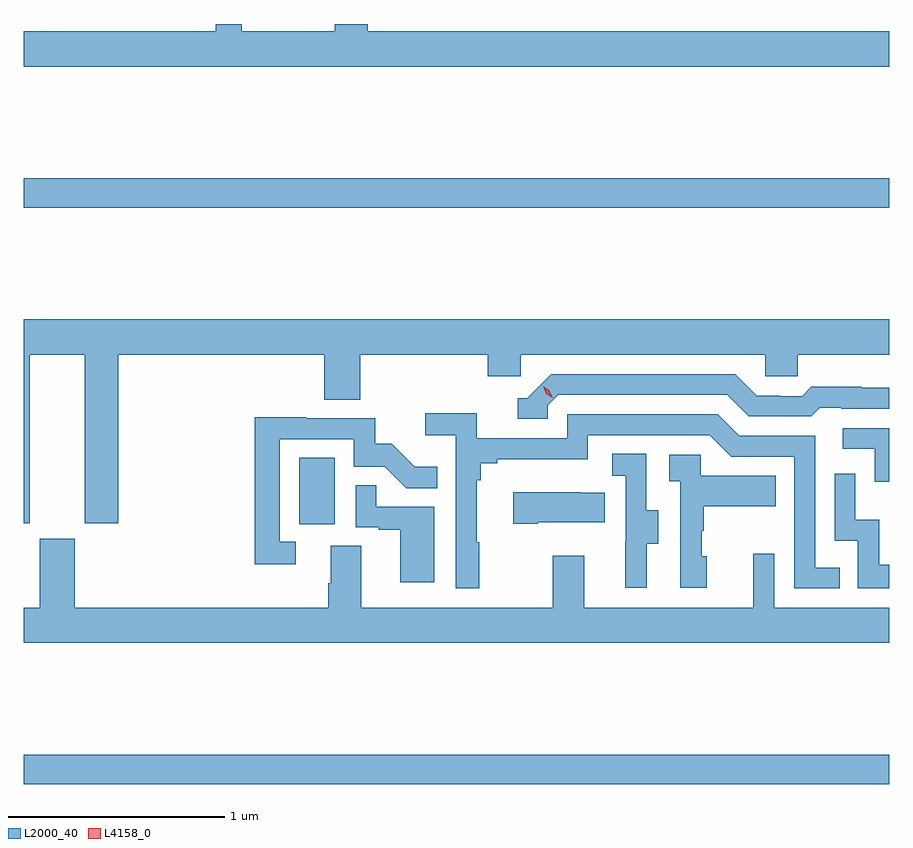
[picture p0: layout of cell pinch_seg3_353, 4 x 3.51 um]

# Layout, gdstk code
import gdstk
lib = gdstk.Library(unit=1e-6, precision=1e-09)
def R(c, l, rs):  # rectangles x0, y0, x1, y1
    for r in rs: c.add(gdstk.rectangle(r[:2], r[2:], *l))
def P(c, l, *ps):  # polygons
    for p in ps: c.add(gdstk.Polygon(p, *l))
L2000_40 = (2000, 40)
L4158_0 = (4158, 0)

pinch_seg3_353 = lib.new_cell('pinch_seg3_353')
R(pinch_seg3_353, L2000_40, [(970.796,696.268,974.796,696.404), (972.068,697.47,972.232,697.777), (970.796,698.932,974.796,699.068)])
P(pinch_seg3_353, L2000_40, [(974.796,699.748),(972.386,699.748),(972.386,699.782),(972.233,699.782),(972.233,699.748),(971.803,699.748),(971.803,699.782),(971.682,699.782),(971.682,699.748),(970.796,699.748),(970.796,699.584),(974.796,699.584)],
  [(970.822,698.252),(971.078,698.252),(971.078,697.473),(971.231,697.473),(971.231,698.252),(972.185,698.252),(972.185,698.044),(972.35,698.044),(972.35,698.252),(972.941,698.252),(972.941,698.154),(973.092,698.154),(973.092,698.252),(974.223,698.252),(974.223,698.154),(974.373,698.154),(974.373,698.252),(974.796,698.252),(974.796,698.416),(970.796,698.416),(970.796,697.473),(970.822,697.473)],
  [(973.218,698.019),(973.266,698.067),(974.049,698.067),(974.148,697.968),(974.437,697.968),(974.476,698.007),(974.575,698.007),(974.575,698.004),(974.796,698.004),(974.796,698.101),(974.67,698.101),(974.67,698.104),(974.437,698.104),(974.395,698.061),(974.292,698.061),(974.292,698.064),(974.185,698.064),(974.086,698.163),(973.233,698.163),(973.122,698.052),(973.079,698.052),(973.079,697.956),(973.218,697.956)],
  [(972.901,697.385),(972.889,697.385),(972.889,697.673),(972.908,697.673),(972.908,697.75),(972.985,697.75),(972.985,697.769),(973.404,697.769),(973.404,697.881),(973.968,697.881),(974.067,697.782),(974.358,697.782),(974.358,697.173),(974.567,697.173),(974.567,697.269),(974.454,697.269),(974.454,697.878),(974.104,697.878),(974.005,697.977),(973.308,697.977),(973.308,697.866),(972.89,697.866),(972.89,697.982),(972.651,697.982),(972.651,697.88),(972.792,697.88),(972.792,697.173),(972.901,697.173)],
  [(972.052,697.389),(971.979,697.389),(971.979,697.863),(972.321,697.863),(972.321,697.734),(972.465,697.734),(972.563,697.636),(972.707,697.636),(972.707,697.735),(972.603,697.735),(972.496,697.842),(972.42,697.842),(972.42,697.959),(972.101,697.959),(972.101,697.964),(971.863,697.964),(971.863,697.284),(972.052,697.284)],
  [(974.796,697.914),(974.583,697.914),(974.583,697.818),(974.73,697.818),(974.73,697.665),(974.796,697.665)],
  [(973.675,697.378),(973.729,697.378),(973.729,697.533),(973.674,697.533),(973.674,697.796),(973.515,697.796),(973.515,697.693),(973.578,697.693),(973.578,697.389),(973.577,697.389),(973.577,697.176),(973.675,697.176)],
  [(973.954,697.32),(973.929,697.32),(973.929,697.439),(973.939,697.439),(973.939,697.553),(974.273,697.553),(974.273,697.693),(973.926,697.693),(973.926,697.791),(973.779,697.791),(973.779,697.667),(973.83,697.667),(973.83,697.176),(973.954,697.176)],
  [(974.796,697.282),(974.75,697.282),(974.75,697.49),(974.64,697.49),(974.64,697.702),(974.544,697.702),(974.544,697.392),(974.652,697.392),(974.652,697.173),(974.796,697.173)],
  [(972.694,697.551),(972.425,697.551),(972.425,697.649),(972.33,697.649),(972.33,697.455),(972.437,697.455),(972.437,697.443),(972.536,697.443),(972.536,697.2),(972.694,697.2)],
  [(973.171,697.478),(973.481,697.478),(973.481,697.615),(973.373,697.615),(973.373,697.618),(973.059,697.618),(973.059,697.471),(973.171,697.471)],
  [(974.796,697.084),(974.265,697.084),(974.265,697.333),(974.168,697.333),(974.168,697.084),(973.387,697.084),(973.387,697.324),(973.24,697.324),(973.24,697.084),(972.355,697.084),(972.355,697.37),(972.215,697.37),(972.215,697.196),(972.203,697.196),(972.203,697.084),(971.032,697.084),(971.032,697.401),(970.868,697.401),(970.868,697.084),(970.796,697.084),(970.796,696.92),(974.796,696.92)])
P(pinch_seg3_353, L4158_0, [(973.242,698.053),(973.211,698.073),(973.196,698.106),(973.196,698.106),(973.196,698.106),(973.226,698.086),(973.242,698.053),(973.242,698.053)])

lib.write_gds('pinch_seg3_353.gds')
